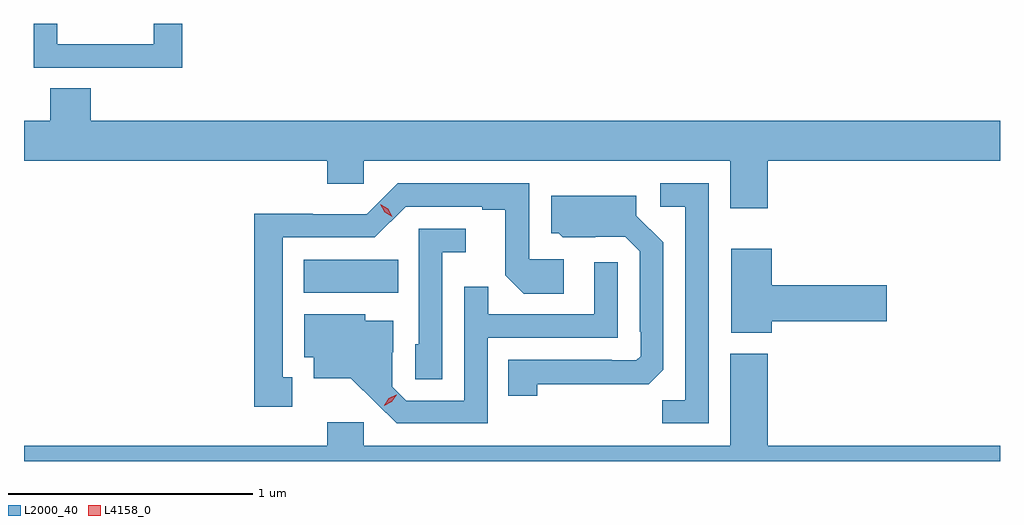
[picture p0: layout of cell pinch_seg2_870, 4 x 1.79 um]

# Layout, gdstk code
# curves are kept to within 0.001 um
import gdstk
lib = gdstk.Library(unit=1e-6, precision=1e-09)
def R(c, l, rs):  # rectangles x0, y0, x1, y1
    for r in rs: c.add(gdstk.rectangle(r[:2], r[2:], *l))
def P(c, l, *ps):  # polygons
    for p in ps: c.add(gdstk.Polygon(p, *l))
L2000_40 = (2000, 40)
L4158_0 = (4158, 0)

pinch_seg2_870 = lib.new_cell('pinch_seg2_870')
R(pinch_seg2_870, L2000_40, [(375.131,584.492,375.518,584.626)])
P(pinch_seg2_870, L2000_40, [(374.633,585.595),(374.517,585.595),(374.517,585.51),(374.121,585.51),(374.121,585.595),(374.025,585.595),(374.025,585.414),(374.341,585.414),(374.341,585.413),(374.633,585.413)],
  [(377.033,585.032),(377.985,585.032),(377.985,585.196),(374.258,585.196),(374.258,585.329),(374.093,585.329),(374.093,585.196),(373.985,585.196),(373.985,585.032),(375.227,585.032),(375.227,584.939),(375.378,584.939),(375.378,585.032),(376.88,585.032),(376.88,584.838),(377.033,584.838)],
  [(375.085,584.145),(375.046,584.145),(375.046,584.718),(375.423,584.718),(375.549,584.844),(375.863,584.844),(375.863,584.832),(375.957,584.832),(375.957,584.564),(376.033,584.488),(376.198,584.488),(376.198,584.628),(376.056,584.628),(376.056,584.94),(375.516,584.94),(375.39,584.814),(375.168,584.814),(375.168,584.816),(374.928,584.816),(374.928,584.025),(375.085,584.025)],
  [(376.791,584.94),(376.593,584.94),(376.593,584.844),(376.695,584.844),(376.695,584.051),(376.6,584.051),(376.6,583.956),(376.791,583.956)],
  [(376.089,584.116),(376.546,584.117),(376.605,584.176),(376.605,584.698),(376.495,584.808),(376.495,584.89),(376.145,584.89),(376.145,584.736),(376.176,584.736),(376.192,584.72),(376.449,584.721),(376.509,584.661),(376.509,584.332),(376.512,584.332),(376.512,584.232),(376.494,584.214),(376.394,584.214),(376.394,584.217),(375.97,584.217),(375.97,584.07),(376.089,584.07)],
  [(375.699,584.657),(375.796,584.657),(375.796,584.754),(375.603,584.754),(375.603,584.28),(375.588,584.28),(375.588,584.137),(375.699,584.137)],
  [(377.05,584.375),(377.521,584.375),(377.521,584.522),(377.05,584.522),(377.05,584.671),(376.883,584.671),(376.883,584.327),(377.05,584.327)],
  [(375.885,584.307),(376.419,584.307),(376.419,584.617),(376.323,584.617),(376.323,584.403),(375.887,584.403),(375.887,584.516),(375.789,584.516),(375.789,584.049),(375.552,584.049),(375.495,584.106),(375.495,584.248),(375.499,584.248),(375.499,584.377),(375.384,584.377),(375.384,584.404),(375.134,584.404),(375.134,584.228),(375.173,584.228),(375.173,584.141),(375.325,584.141),(375.512,583.956),(375.885,583.956)],
  [(377.985,583.864),(377.033,583.864),(377.033,584.242),(376.88,584.242),(376.88,583.864),(375.378,583.864),(375.378,583.96),(375.227,583.96),(375.227,583.864),(373.985,583.864),(373.985,583.8),(377.985,583.8)])
P(pinch_seg2_870, L4158_0, [(375.462,584.029),(375.462,584.03),(375.48,584.059),(375.511,584.073),(375.512,584.073),(375.512,584.073),(375.493,584.044),(375.462,584.029)],
  [(375.494,584.803),(375.463,584.822),(375.446,584.855),(375.446,584.855),(375.446,584.855),(375.478,584.836),(375.495,584.804),(375.495,584.803)])

lib.write_gds('pinch_seg2_870.gds')
